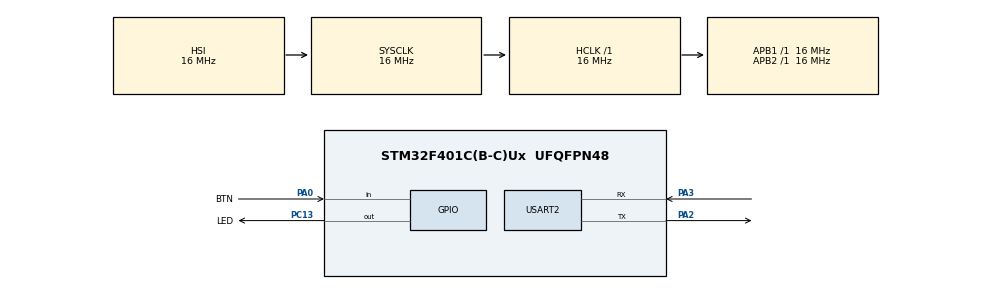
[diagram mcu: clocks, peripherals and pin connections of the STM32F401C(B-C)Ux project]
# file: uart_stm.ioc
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Mcu.Family=STM32F4
Mcu.Name=STM32F401C(B-C)Ux
Mcu.Package=UFQFPN48
NVIC.PriorityGroup=NVIC_PRIORITYGROUP_4
NVIC.USART2_IRQn=true\:0\:0\:false\:false\:true\:true\:true\:true
PA0-WKUP.GPIO_Label=BTN
PA0-WKUP.GPIO_PuPd=GPIO_PULLUP
PA0-WKUP.Signal=GPIO_Input
PA13.Mode=Serial_Wire
PA13.Signal=SYS_JTMS-SWDIO
PA14.Mode=Serial_Wire
PA14.Signal=SYS_JTCK-SWCLK
PA2.Mode=Asynchronous
PA2.Signal=USART2_TX
PA3.Mode=Asynchronous
PA3.Signal=USART2_RX
PC13-ANTI_TAMP.GPIO_Label=LED
PC13-ANTI_TAMP.PinState=GPIO_PIN_SET
PC13-ANTI_TAMP.Signal=GPIO_Output
ProjectManager.HeapSize=0x200
ProjectManager.StackSize=0x400
ProjectManager.TargetToolchain=STM32CubeIDE
RCC.AHBFreq_Value=16000000
RCC.APB1Freq_Value=16000000
RCC.APB2Freq_Value=16000000
RCC.CortexFreq_Value=16000000
RCC.HSE_VALUE=25000000
RCC.HSI_VALUE=16000000
RCC.LSE_VALUE=32768
RCC.SYSCLKFreq_VALUE=16000000
RCC.VCOOutputFreq_Value=192000000
USART2.VirtualMode=VM_ASYNC
board=custom

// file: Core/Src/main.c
/* USER CODE BEGIN Header */
/**
  ******************************************************************************
  * @file           : main.c
  * @brief          : Main program body
  ******************************************************************************
  * @attention
  *
  * Copyright (c) 2026 STMicroelectronics.
  * All rights reserved.
  *
  * This software is licensed under terms that can be found in the LICENSE file
  * in the root directory of this software component.
  * If no LICENSE file comes with this software, it is provided AS-IS.
  *
  ******************************************************************************
  */
/* USER CODE END Header */
#include "main.h"

/* USER CODE BEGIN Includes */
#include <string.h>
/* USER CODE END Includes */

UART_HandleTypeDef huart2;

/* USER CODE BEGIN PV */
static uint8_t rx_byte;
static char rx_line[16];
static uint8_t rx_length = 0;
static uint8_t rx_discard = 0;

static GPIO_PinState button_raw;
static GPIO_PinState button_stable;
static uint32_t button_changed_at;

static uint8_t esp_led_state = 0;
static uint8_t tx_pending = 1;
static uint32_t last_tx_at = 0;

static volatile uint32_t uart_tx_errors = 0;
static volatile uint32_t uart_rx_errors = 0;
/* USER CODE END PV */

void SystemClock_Config(void);
static void MX_GPIO_Init(void);
static void MX_USART2_UART_Init(void);

/* USER CODE BEGIN 0 */
/* Розбір команди, отриманої від ESP32. */
static void UART_ProcessByte(uint8_t byte)
{
    if (byte == '\n' || byte == '\r')
    {
        if (!rx_discard && rx_length == 5)
        {
            if (memcmp(rx_line, "LED:1", 5) == 0)
            {
                /* PC13: низький рівень вмикає LED. */
                HAL_GPIO_WritePin(LED_GPIO_Port, LED_Pin, GPIO_PIN_RESET);
            }
            else if (memcmp(rx_line, "LED:0", 5) == 0)
            {
                HAL_GPIO_WritePin(LED_GPIO_Port, LED_Pin, GPIO_PIN_SET);
            }
        }

        rx_length = 0;
        rx_discard = 0;
        return;
    }

    if (rx_discard)
        return;

    /* Некоректний або задовгий рядок пропускаємо до кінця. */
    if (byte < 32 || byte > 126 || rx_length >= sizeof(rx_line))
    {
        rx_length = 0;
        rx_discard = 1;
        return;
    }

    rx_line[rx_length++] = (char)byte;
}

/* Надсилання бажаного стану LED на ESP32. */
static void UART_SendLedState(void)
{
    const char *message =
        esp_led_state ? "\nLED:1\n" : "\nLED:0\n";

    if (HAL_UART_Transmit(&huart2,
                          (const uint8_t *)message,
                          (uint16_t)strlen(message),
                          20) != HAL_OK)
    {
        uart_tx_errors++;
    }

    last_tx_at = HAL_GetTick();
    tx_pending = 0;
}

/* Опитування кнопки з фільтрацією брязкоту контактів. */
static void Button_Task(void)
{
    uint32_t now = HAL_GetTick();
    GPIO_PinState level = HAL_GPIO_ReadPin(BTN_GPIO_Port, BTN_Pin);

    if (level != button_raw)
    {
        button_raw = level;
        button_changed_at = now;
    }

    if ((uint32_t)(now - button_changed_at) >= 25 &&
        button_stable != button_raw)
    {
        button_stable = button_raw;

        /* Натискання: PA0 замикається на GND. */
        if (button_stable == GPIO_PIN_RESET)
        {
            esp_led_state ^= 1;
            tx_pending = 1;
        }
    }
}

/* USER CODE END 0 */

int main(void)
{

  /* MCU Configuration--------------------------------------------------------*/

  /* Reset of all peripherals, Initializes the Flash interface and the Systick. */
  HAL_Init();

  /* Configure the system clock */
  SystemClock_Config();

  /* Initialize all configured peripherals */
  MX_GPIO_Init();
  MX_USART2_UART_Init();
  /* USER CODE BEGIN 2 */
  button_raw = HAL_GPIO_ReadPin(BTN_GPIO_Port, BTN_Pin);
  button_stable = button_raw;
  button_changed_at = HAL_GetTick();

  if (HAL_UART_Receive_IT(&huart2, &rx_byte, 1) != HAL_OK)
  {
      Error_Handler();
  }
  /* USER CODE END 2 */

  /* Infinite loop */
  while (1)
  {

    /* USER CODE BEGIN 3 */
	Button_Task();

	if (tx_pending ||
		(uint32_t)(HAL_GetTick() - last_tx_at) >= 1000)
	{
		UART_SendLedState();
	}

	HAL_Delay(1);

  }
  /* USER CODE END 3 */
}

void SystemClock_Config(void)
{
  RCC_OscInitTypeDef RCC_OscInitStruct = {0};
  RCC_ClkInitTypeDef RCC_ClkInitStruct = {0};

  /** Configure the main internal regulator output voltage
  */
  __HAL_RCC_PWR_CLK_ENABLE();
  __HAL_PWR_VOLTAGESCALING_CONFIG(PWR_REGULATOR_VOLTAGE_SCALE2);

  /** Initializes the RCC Oscillators according to the specified parameters
  * in the RCC_OscInitTypeDef structure.
  */
  RCC_OscInitStruct.OscillatorType = RCC_OSCILLATORTYPE_HSI;
  RCC_OscInitStruct.HSIState = RCC_HSI_ON;
  RCC_OscInitStruct.HSICalibrationValue = RCC_HSICALIBRATION_DEFAULT;
  RCC_OscInitStruct.PLL.PLLState = RCC_PLL_NONE;
  if (HAL_RCC_OscConfig(&RCC_OscInitStruct) != HAL_OK)
  {
    Error_Handler();
  }

  /** Initializes the CPU, AHB and APB buses clocks
  */
  RCC_ClkInitStruct.ClockType = RCC_CLOCKTYPE_HCLK|RCC_CLOCKTYPE_SYSCLK
                              |RCC_CLOCKTYPE_PCLK1|RCC_CLOCKTYPE_PCLK2;
  RCC_ClkInitStruct.SYSCLKSource = RCC_SYSCLKSOURCE_HSI;
  RCC_ClkInitStruct.AHBCLKDivider = RCC_SYSCLK_DIV1;
  RCC_ClkInitStruct.APB1CLKDivider = RCC_HCLK_DIV1;
  RCC_ClkInitStruct.APB2CLKDivider = RCC_HCLK_DIV1;

  if (HAL_RCC_ClockConfig(&RCC_ClkInitStruct, FLASH_LATENCY_0) != HAL_OK)
  {
    Error_Handler();
  }
}

static void MX_USART2_UART_Init(void)
{

  huart2.Instance = USART2;
  huart2.Init.BaudRate = 115200;
  huart2.Init.WordLength = UART_WORDLENGTH_8B;
  huart2.Init.StopBits = UART_STOPBITS_1;
  huart2.Init.Parity = UART_PARITY_NONE;
  huart2.Init.Mode = UART_MODE_TX_RX;
  huart2.Init.HwFlowCtl = UART_HWCONTROL_NONE;
  huart2.Init.OverSampling = UART_OVERSAMPLING_16;
  if (HAL_UART_Init(&huart2) != HAL_OK)
  {
    Error_Handler();
  }

}

static void MX_GPIO_Init(void)
{
  GPIO_InitTypeDef GPIO_InitStruct = {0};

  /* GPIO Ports Clock Enable */
  __HAL_RCC_GPIOC_CLK_ENABLE();
  __HAL_RCC_GPIOA_CLK_ENABLE();

  /*Configure GPIO pin Output Level */
  HAL_GPIO_WritePin(LED_GPIO_Port, LED_Pin, GPIO_PIN_SET);

  /*Configure GPIO pin : LED_Pin */
  GPIO_InitStruct.Pin = LED_Pin;
  GPIO_InitStruct.Mode = GPIO_MODE_OUTPUT_PP;
  GPIO_InitStruct.Pull = GPIO_NOPULL;
  GPIO_InitStruct.Speed = GPIO_SPEED_FREQ_LOW;
  HAL_GPIO_Init(LED_GPIO_Port, &GPIO_InitStruct);

  /*Configure GPIO pin : BTN_Pin */
  GPIO_InitStruct.Pin = BTN_Pin;
  GPIO_InitStruct.Mode = GPIO_MODE_INPUT;
  GPIO_InitStruct.Pull = GPIO_PULLUP;
  HAL_GPIO_Init(BTN_GPIO_Port, &GPIO_InitStruct);

}

/* USER CODE BEGIN 4 */
void HAL_UART_RxCpltCallback(UART_HandleTypeDef *huart)
{
    if (huart->Instance != USART2)
        return;

    /* Пошкоджений байт обробить ErrorCallback. */
    if (huart->ErrorCode != HAL_UART_ERROR_NONE)
        return;

    uint8_t byte = rx_byte;

    /* Одразу готуємо приймання наступного байта. */
    if (HAL_UART_Receive_IT(huart, &rx_byte, 1) != HAL_OK)
    {
        Error_Handler();
    }

    UART_ProcessByte(byte);
}

void HAL_UART_ErrorCallback(UART_HandleTypeDef *huart)
{
    if (huart->Instance != USART2)
        return;

    uart_rx_errors++;
    rx_length = 0;
    rx_discard = 1;

    /* Відновлення приймання після помилки UART. */
    if (HAL_UART_AbortReceive(huart) != HAL_OK)
    {
        Error_Handler();
    }

    __HAL_UART_CLEAR_OREFLAG(huart);

    if (HAL_UART_Receive_IT(huart, &rx_byte, 1) != HAL_OK)
    {
        Error_Handler();
    }
}
/* USER CODE END 4 */

void Error_Handler(void)
{
  __disable_irq();
  while (1)
  {
  }
}
